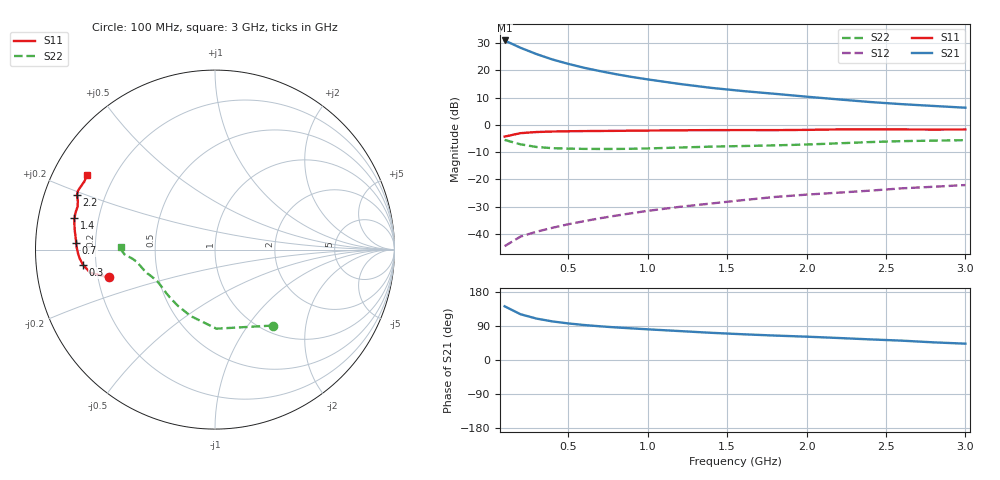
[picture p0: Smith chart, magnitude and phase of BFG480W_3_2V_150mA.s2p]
! Filename: 3_2150BFG480.001
! Title: BFG480W
! Bias: Vce=3.2V; Ic=150mA
! Company: Philips Semiconductors NL
! User: Quality&Reliability T&D
! Measure time: 10 Nov 1999 / 11:58:59
#  MHz  S  MA  R 50
! Freq  S11  S21  S12  S22  :
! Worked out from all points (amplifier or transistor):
!   20 points, 100 MHz to 3 GHz, reference 50 ohm
!   highest |S21| = 30.9 dB at 100 MHz (marker M1)
!   |S21| within 3 dB of that: start of sweep to 213.9 MHz
!   unconditionally stable (mu >= 1): start of sweep to 121.3 MHz; 303.4 MHz to end of sweep
!   at 400 MHz: K = 1.07, MAG = 29.3 dB, |S12| = -37.7 dB
!   at 1.2 GHz: K = 1.20, MAG = 19.8 dB, |S12| = -30.0 dB
!   at 3 GHz: K = 1.16, MAG = 11.8 dB, |S12| = -22.0 dB
!   S11 on the Smith chart (normalised r, x): 100 MHz: 0.25, -0.12; 300 MHz: 0.15, -0.06; 700 MHz: 0.13, +0.02; 1.4 GHz: 0.11, +0.11; 2.2 GHz: 0.10, +0.19; 3 GHz: 0.10, +0.27
100  0.61 -165.3  35.22 141.7  0.006005 64.7  0.5311 -52.8
200  0.706 -169.4  25.87 120.8  0.008999 58.7  0.4406 -88.9
300  0.7401 -173.4  19.85 109.4  0.01103 60.2  0.3942 -110.2
400  0.756 -176.3  15.82 101.9  0.01303 63.0  0.3751 -123.4
500  0.7647 -178.8  13.13 96.5  0.01513 65.5  0.3674 -132.2
600  0.7703 179.2  11.13 92.3  0.01723 67.7  0.3639 -138.3
700  0.774 177.3  9.673 88.9  0.01948 70.0  0.3624 -142.9
800  0.7779 175.6  8.502 86.0  0.02173 71.5  0.3629 -146.7
900  0.7826 174.0  7.562 83.4  0.02411 73.3  0.3654 -149.9
1000  0.7877 172.4  6.818 81.0  0.02663 74.2  0.3704 -152.8
1200  0.7964 169.7  5.635 76.4  0.03151 75.4  0.3847 -157.3
1400  0.8021 167.5  4.77 71.8  0.03632 76.0  0.3998 -160.7
1600  0.8041 165.1  4.167 67.9  0.0419 76.6  0.4102 -163.5
1800  0.8021 162.6  3.711 64.5  0.04782 76.8  0.4217 -166.6
2000  0.8107 160.5  3.288 61.6  0.0528 77.3  0.4373 -170.4
2200  0.8266 158.5  2.933 58.1  0.05739 77.0  0.4596 -173.4
2400  0.8311 156.7  2.625 54.4  0.06248 76.3  0.4846 -175.5
2600  0.8262 154.8  2.398 51.0  0.06886 75.4  0.5043 -176.9
2800  0.8208 152.4  2.223 46.6  0.07362 73.9  0.5152 -178.6
3000  0.8251 149.7  2.064 43.1  0.07913 73.0  0.525 178.6
